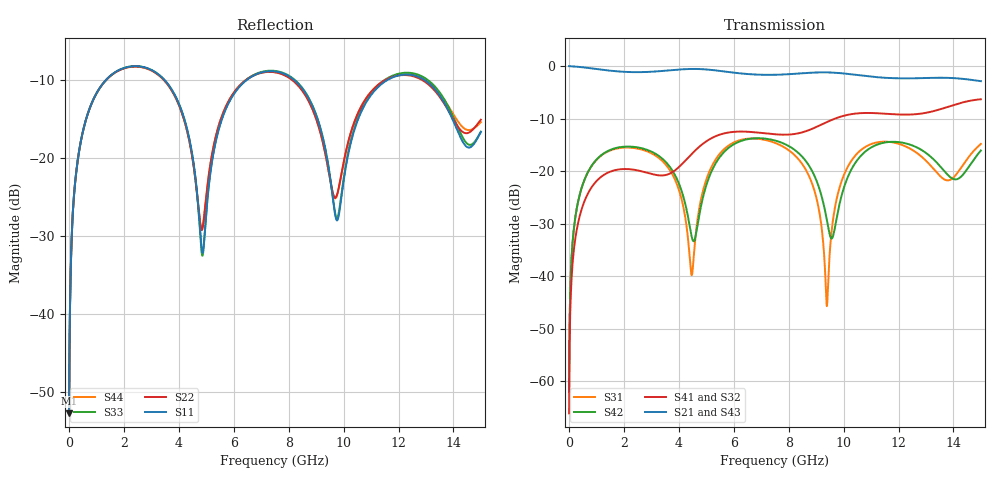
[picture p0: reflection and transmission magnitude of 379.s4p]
! Created with skrf 1.8.0 (http://scikit-rf.org).
# GHz S RI R 50.0
!freq ReS11 ImS11 ReS12 ImS12 ReS13 ImS13
! ReS14 ImS14
! ReS21 ImS21 ReS22 ImS22 ReS23 ImS23
! ReS24 ImS24
! ReS31 ImS31 ReS32 ImS32 ReS33 ImS33
! ReS34 ImS34
! ReS41 ImS41 ReS42 ImS42 ReS43 ImS43
! ReS44 ImS44
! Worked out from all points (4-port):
!   2499 points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, 5 MHz to 15 GHz, reference 50 ohm
!   strongest paths, dB at 5 MHz, 3.476 GHz, 7.19 GHz, 11.1 GHz, 15 GHz:
!     S21: 0.0, -0.9, -1.7, -2.1, -2.9
!     S43: 0.0, -0.9, -1.7, -2.1, -2.9
!     S41: -66.1, -20.8, -12.8, -8.9, -6.3
!     S32: -66.1, -20.8, -12.9, -9.0, -6.3
!     S42: -62.0, -18.0, -13.8, -15.2, -16.1
!     S31: -62.0, -18.5, -14.1, -14.7, -14.8
!   lowest |S11| = -52.7 dB at 5 MHz (marker M1), VSWR 1.00, Z = 50.2 + j0.14 ohm
!   |S11| at or under -10 dB: 3.483 GHz to 6.466 GHz (2.983 GHz wide, 60 % of centre); 8.208 GHz to 11.59 GHz (3.381 GHz wide, 34.2 % of centre); 12.95 GHz to end of sweep (the widest 3 of 4)
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0.005  0.00184 0.00139  0.9981 -0.00359  9.53e-05 0.000789  -9.22e-05 -0.000486
       0.9981 -0.00359  0.00184 0.00139  -9.22e-05 -0.000486  9.54e-05 0.000789
       9.53e-05 0.000789  -9.22e-05 -0.000486  0.00184 0.00139  0.9981 -0.00359
       -9.22e-05 -0.000486  9.54e-05 0.000789  0.9981 -0.00359  0.00184 0.00139
1.419341  0.2782 0.1706  0.5299 -0.7386  0.1379 0.0684  -0.0967 -0.00245
          0.5299 -0.7386  0.2763 0.172  -0.0966 -0.00261  0.1435 0.0604
          0.1379 0.0684  -0.0966 -0.00261  0.2783 0.1705  0.5299 -0.7386
          -0.0967 -0.00245  0.1435 0.0604  0.5299 -0.7386  0.2762 0.172
4.945811  0.0272 0.0194  -0.931 -0.0108  0.0278 0.0695  0.00622 0.1877
          -0.931 -0.0108  0.0379 0.0256  0.00341 0.1878  -0.000263 0.0657
          0.0278 0.0695  0.00341 0.1878  0.0263 0.0209  -0.9309 -0.0103
          0.00622 0.1877  -0.000263 0.0657  -0.9309 -0.0103  0.0388 0.0267
8.115882  0.2971 -0.133  0.2707 0.796  0.1126 -0.0989  0.1853 -0.1259
          0.2707 0.796  0.2933 -0.1234  0.1876 -0.1199  0.102 -0.1313
          0.1126 -0.0989  0.1876 -0.1199  0.2999 -0.1334  0.2699 0.7956
          0.1853 -0.1259  0.102 -0.1313  0.2699 0.7956  0.2941 -0.1233
9.391413  0.0586 -0.0823  0.7986 0.3476  0.00516 -0.000415  0.1044 -0.2739
          0.7986 0.3476  0.0695 -0.0646  0.1127 -0.2706  -0.0266 -0.0216
          0.00516 -0.000415  0.1127 -0.2706  0.06 -0.0823  0.7981 0.3484
          0.1044 -0.2739  -0.0266 -0.0216  0.7981 0.3484  0.0695 -0.065
10.56065  0.1261 0.1332  0.764 -0.2909  0.1323 0.0769  -0.1649 -0.3151
          0.764 -0.2909  0.1486 0.1346  -0.1549 -0.319  0.1118 0.0731
          0.1323 0.0769  -0.1549 -0.319  0.1301 0.1359  0.7636 -0.2904
          -0.1649 -0.3151  0.1118 0.0731  0.7636 -0.2904  0.1471 0.1363
15  0.1384 0.0506  -0.7186 -0.0168  0.0311 0.1787  0.024 0.4829
    -0.7186 -0.0168  0.1719 0.0393  0.00434 0.4824  0.0528 0.1481
    0.0311 0.1787  0.00434 0.4824  0.1415 0.0422  -0.7192 -0.0245
    0.024 0.4829  0.0528 0.1481  -0.7192 -0.0245  0.1686 0.0234
